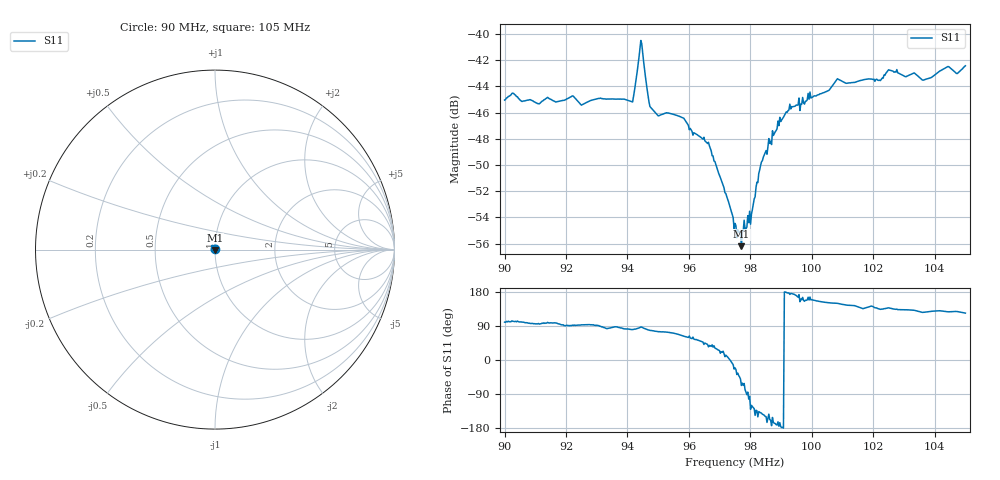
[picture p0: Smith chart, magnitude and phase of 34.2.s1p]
# HZ S RI R 50
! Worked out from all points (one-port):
!   505 points, 90 MHz to 105 MHz, reference 50 ohm
!   lowest |S11| = -56.2 dB at 97.71 MHz (marker M1), VSWR 1.00, Z = 50.1 - j0.143 ohm
!   |S11| at or under -10 dB: start of sweep to end of sweep
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9e7  -0.00096 0.00552
9.026786e7  -0.00124 0.00582
9.107143e7  -0.000495 0.00541
9.187501e7  -0.000259 0.00557
9.375001e7  0.000467 0.00563
9.416668e7  0.000926 0.00543
9.443454e7  0.000495 0.00944
9.449406e7  0.000703 0.00846
9.467263e7  0.00106 0.00569
9.479168e7  0.0011 0.00507
9.562502e7  0.0018 0.00454
9.666669e7  0.00293 0.00233
9.750002e7  0.00177 -0.000673
9.770836e7  0.0006 -0.00143
9.80655e7  -0.00117 -0.00179
9.842265e7  -0.00275 -0.00198
9.895836e7  -0.00465 -0.00122
9.937503e7  -0.00525 0.000513
1.00506e8  -0.00532 0.0029
1.008334e8  -0.00583 0.00342
1.0125e8  -0.00528 0.0038
1.022024e8  -0.00469 0.00475
1.025298e8  -0.00534 0.00495
1.03125e8  -0.00467 0.00512
1.036608e8  -0.00394 0.00541
1.044048e8  -0.00455 0.00595
1.047322e8  -0.00434 0.00558
1.05e8  -0.00421 0.00629
